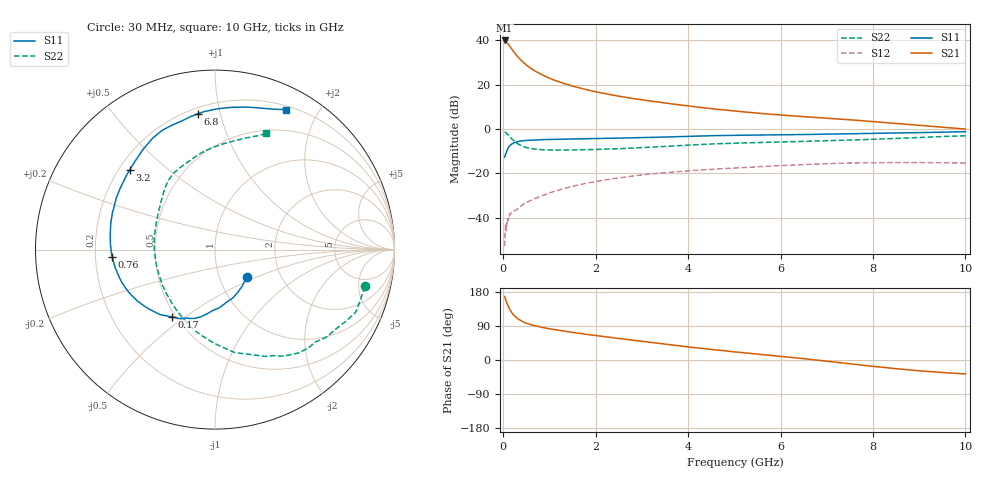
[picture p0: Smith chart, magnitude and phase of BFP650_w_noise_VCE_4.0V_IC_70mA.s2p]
! Infineon Technologies  Discrete & RF Semiconductors
! BFP650
! VCE =  4.0 V,  IC =  70 mA
! Common Emitter S-Parameters:  Jan 2016
# GHz  S  MA  R  50
!  f  S11  S21  S12  S22
! GHz  MAG  ANG  MAG  ANG  MAG  ANG  MAG  ANG
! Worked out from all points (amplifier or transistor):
!   229 points, 30 MHz to 10 GHz, reference 50 ohm
!   highest |S21| = 40.0 dB at 30 MHz (marker M1)
!   |S21| within 3 dB of that: start of sweep to 154.2 MHz
!   unconditionally stable (mu >= 1): 1.524 GHz to end of sweep
!   at 280 MHz: K = 0.57, MSG = 34.9 dB, |S12| = -36.4 dB
!   at 1.78 GHz: K = 1.01, MAG = 20.5 dB, |S12| = -24.4 dB
!   at 10 GHz: K = 1.03, MAG = 6.7 dB, |S12| = -15.3 dB
!   lowest NFmin = 1.15 dB at 450 MHz
!   S11 on the Smith chart (normalised r, x): 30 MHz: 1.35, -0.43; 170 MHz: 0.48, -0.45; 760 MHz: 0.27, -0.03; 3.2 GHz: 0.24, +0.37; 6.8 GHz: 0.24, +0.86; 10 GHz: 0.24, +1.60
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0.03  0.2337 -40.4  99.51 167.6  0.0023 67.4  0.8596 -13.8
0.045  0.26 -57.2  97.33 161.7  0.0055 62.3  0.8569 -21.6
0.065  0.2936 -74.1  93.64 154.8  0.0054 66.4  0.8176 -31.0
0.08  0.3249 -85.6  90 149.7  0.0077 56.0  0.7898 -38.1
0.1  0.3577 -96.4  84.83 143.7  0.0086 56.6  0.7553 -46.3
0.135  0.4118 -111.7  75.2 134.7  0.0111 60.5  0.6863 -59.6
0.17  0.445 -122.4  66.81 128.1  0.0129 57.0  0.625 -69.8
0.2  0.4748 -130.3  60.36 122.1  0.0142 57.7  0.5844 -79.1
0.26  0.5044 -141.3  50 114.2  0.0147 54.8  0.5128 -92.4
0.3  0.5194 -146.9  44.41 110.0  0.0155 53.5  0.479 -100.4
0.36  0.5354 -153.5  37.92 105.2  0.0177 55.2  0.4393 -110.4
0.5  0.5556 -164.1  27.91 96.9  0.0223 56.8  0.3853 -128.1
0.6  0.5652 -169.3  23.34 92.9  0.0247 58.6  0.3652 -137.8
0.76  0.5737 -175.7  18.52 88.1  0.0292 58.8  0.3479 -149.9
1.1  0.5858 174.4  12.71 80.4  0.0398 58.6  0.3369 -168.0
1.7  0.6045 161.6  8.21 69.6  0.0569 55.3  0.3418 172.3
3.2  0.65 136.9  4.276 46.5  0.0975 40.1  0.3906 141.7
3.4  0.6582 134.0  3.998 43.4  0.102 37.8  0.4011 138.7
5.1  0.7278 113.0  2.5 20.4  0.1345 20.4  0.4853 117.8
6.8  0.763 97.0  1.825 -0.4  0.1637 3.1  0.5391 99.2
8.4  0.8126 77.6  1.369 -21.7  0.1756 -14.6  0.6104 81.0
10  0.875 63.1  1.005 -36.7  0.1719 -27.4  0.7077 66.3
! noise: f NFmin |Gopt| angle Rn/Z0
0.45  1.15  0.48  -171  0.06
0.9  1.17  0.49  -165  0.06
1.9  1.31  0.52  -151  0.08
2.4  1.4  0.5  -142  0.1
3.5  1.6  0.52  -118  0.17
